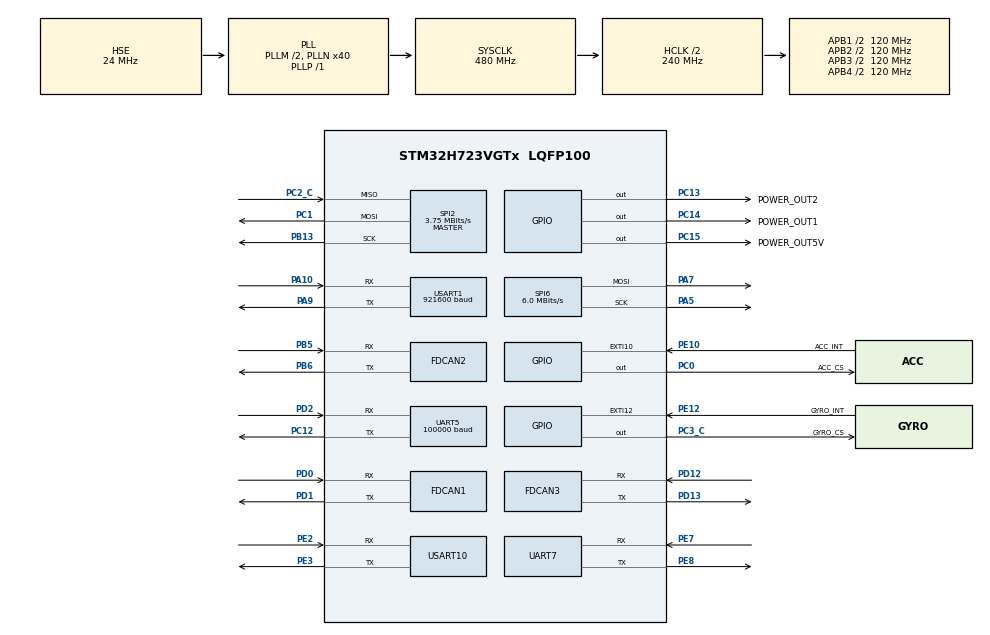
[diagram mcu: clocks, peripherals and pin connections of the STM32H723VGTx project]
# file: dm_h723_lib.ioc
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CORTEX_M7.CPU_ICache=Enabled
CORTEX_M7.default_mode_Activation=0
Dma.Request0=UART5_RX
Dma.Request1=SPI2_RX
Dma.Request2=SPI2_TX
Dma.Request3=UART7_RX
Dma.SPI2_RX.1.Direction=DMA_PERIPH_TO_MEMORY
Dma.SPI2_RX.1.EventEnable=DISABLE
Dma.SPI2_RX.1.FIFOMode=DMA_FIFOMODE_DISABLE
Dma.SPI2_RX.1.Instance=DMA1_Stream0
Dma.SPI2_RX.1.MemDataAlignment=DMA_MDATAALIGN_BYTE
Dma.SPI2_RX.1.MemInc=DMA_MINC_ENABLE
Dma.SPI2_RX.1.Mode=DMA_NORMAL
Dma.SPI2_RX.1.PeriphDataAlignment=DMA_PDATAALIGN_BYTE
Dma.SPI2_RX.1.PeriphInc=DMA_PINC_DISABLE
Dma.SPI2_RX.1.Polarity=HAL_DMAMUX_REQ_GEN_RISING
Dma.SPI2_RX.1.Priority=DMA_PRIORITY_VERY_HIGH
Dma.SPI2_RX.1.RequestNumber=1
Dma.SPI2_RX.1.SignalID=NONE
Dma.SPI2_RX.1.SyncEnable=DISABLE
Dma.SPI2_RX.1.SyncPolarity=HAL_DMAMUX_SYNC_NO_EVENT
Dma.SPI2_RX.1.SyncRequestNumber=1
Dma.SPI2_RX.1.SyncSignalID=NONE
Dma.SPI2_TX.2.Direction=DMA_MEMORY_TO_PERIPH
Dma.SPI2_TX.2.EventEnable=DISABLE
Dma.SPI2_TX.2.FIFOMode=DMA_FIFOMODE_DISABLE
Dma.SPI2_TX.2.Instance=DMA1_Stream1
Dma.SPI2_TX.2.MemDataAlignment=DMA_MDATAALIGN_BYTE
Dma.SPI2_TX.2.MemInc=DMA_MINC_ENABLE
Dma.SPI2_TX.2.Mode=DMA_NORMAL
Dma.SPI2_TX.2.PeriphDataAlignment=DMA_PDATAALIGN_BYTE
Dma.SPI2_TX.2.PeriphInc=DMA_PINC_DISABLE
Dma.SPI2_TX.2.Polarity=HAL_DMAMUX_REQ_GEN_RISING
Dma.SPI2_TX.2.Priority=DMA_PRIORITY_HIGH
Dma.SPI2_TX.2.RequestNumber=1
Dma.SPI2_TX.2.SignalID=NONE
Dma.SPI2_TX.2.SyncEnable=DISABLE
Dma.SPI2_TX.2.SyncPolarity=HAL_DMAMUX_SYNC_NO_EVENT
Dma.SPI2_TX.2.SyncRequestNumber=1
Dma.SPI2_TX.2.SyncSignalID=NONE
Dma.UART5_RX.0.Direction=DMA_PERIPH_TO_MEMORY
Dma.UART5_RX.0.EventEnable=DISABLE
Dma.UART5_RX.0.FIFOMode=DMA_FIFOMODE_DISABLE
Dma.UART5_RX.0.Instance=DMA1_Stream2
Dma.UART5_RX.0.MemDataAlignment=DMA_MDATAALIGN_BYTE
Dma.UART5_RX.0.MemInc=DMA_MINC_ENABLE
Dma.UART5_RX.0.Mode=DMA_NORMAL
Dma.UART5_RX.0.PeriphDataAlignment=DMA_PDATAALIGN_BYTE
Dma.UART5_RX.0.PeriphInc=DMA_PINC_DISABLE
Dma.UART5_RX.0.Polarity=HAL_DMAMUX_REQ_GEN_RISING
Dma.UART5_RX.0.Priority=DMA_PRIORITY_VERY_HIGH
Dma.UART5_RX.0.RequestNumber=1
Dma.UART5_RX.0.SignalID=NONE
Dma.UART5_RX.0.SyncEnable=DISABLE
Dma.UART5_RX.0.SyncPolarity=HAL_DMAMUX_SYNC_NO_EVENT
Dma.UART5_RX.0.SyncRequestNumber=1
Dma.UART5_RX.0.SyncSignalID=NONE
Dma.UART7_RX.3.Direction=DMA_PERIPH_TO_MEMORY
Dma.UART7_RX.3.EventEnable=DISABLE
Dma.UART7_RX.3.FIFOMode=DMA_FIFOMODE_DISABLE
Dma.UART7_RX.3.Instance=DMA1_Stream3
Dma.UART7_RX.3.MemDataAlignment=DMA_MDATAALIGN_BYTE
Dma.UART7_RX.3.MemInc=DMA_MINC_ENABLE
Dma.UART7_RX.3.Mode=DMA_NORMAL
Dma.UART7_RX.3.PeriphDataAlignment=DMA_PDATAALIGN_BYTE
Dma.UART7_RX.3.PeriphInc=DMA_PINC_DISABLE
Dma.UART7_RX.3.Polarity=HAL_DMAMUX_REQ_GEN_RISING
Dma.UART7_RX.3.Priority=DMA_PRIORITY_HIGH
Dma.UART7_RX.3.RequestNumber=1
Dma.UART7_RX.3.SignalID=NONE
Dma.UART7_RX.3.SyncEnable=DISABLE
Dma.UART7_RX.3.SyncPolarity=HAL_DMAMUX_SYNC_NO_EVENT
Dma.UART7_RX.3.SyncRequestNumber=1
Dma.UART7_RX.3.SyncSignalID=NONE
FDCAN1.CalculateBaudRateNominal=1000000
FDCAN1.CalculateTimeBitNominal=1000
FDCAN1.CalculateTimeQuantumNominal=25.0
FDCAN1.DataPrescaler=3
FDCAN1.DataSyncJumpWidth=10
FDCAN1.DataTimeSeg1=29
FDCAN1.DataTimeSeg2=10
FDCAN1.NominalPrescaler=3
FDCAN1.NominalSyncJumpWidth=10
FDCAN1.NominalTimeSeg1=29
FDCAN1.NominalTimeSeg2=10
FDCAN1.RxFifo0ElmtsNbr=32
FDCAN1.StdFiltersNbr=1
FDCAN1.TxFifoQueueElmtsNbr=32
FDCAN2.CalculateBaudRateNominal=1000000
FDCAN2.CalculateTimeBitNominal=1000
FDCAN2.CalculateTimeQuantumNominal=25.0
FDCAN2.DataPrescaler=3
FDCAN2.DataSyncJumpWidth=10
FDCAN2.DataTimeSeg1=29
FDCAN2.DataTimeSeg2=10
FDCAN2.MessageRAMOffset=852
FDCAN2.NominalPrescaler=3
FDCAN2.NominalSyncJumpWidth=10
FDCAN2.NominalTimeSeg1=29
FDCAN2.NominalTimeSeg2=10
FDCAN2.RxFifo0ElmtsNbr=32
FDCAN2.StdFiltersNbr=1
FDCAN2.TxFifoQueueElmtsNbr=32
FDCAN3.CalculateBaudRateNominal=1000000
FDCAN3.CalculateTimeBitNominal=1000
FDCAN3.CalculateTimeQuantumNominal=25.0
FDCAN3.DataPrescaler=3
FDCAN3.DataSyncJumpWidth=10
FDCAN3.DataTimeSeg1=29
FDCAN3.DataTimeSeg2=10
FDCAN3.MessageRAMOffset=1704
FDCAN3.NominalPrescaler=3
FDCAN3.NominalSyncJumpWidth=10
FDCAN3.NominalTimeSeg1=29
FDCAN3.NominalTimeSeg2=10
FDCAN3.RxFifo0ElmtsNbr=32
FDCAN3.StdFiltersNbr=1
FDCAN3.TxFifoQueueElmtsNbr=32
FREERTOS.Tasks01=defaultTask,0,128,StartDefaultTask,Default,NULL,Dynamic,NULL,NULL;debug_uart,-3,1024,DEBUG_UART_TASK,As weak,NULL,Dynamic,NULL,NULL;led,-3,128,LED_TASK,As weak,NULL,Dynamic,NULL,NULL;get_rc,-3,256,GET_RC_TASK,As weak,NULL,Dynamic,NULL,NULL;imu_data,-3,1024,IMU_DATA_GET,As weak,NULL,Dynamic,NULL,NULL;can_sent,-3,256,CAN_SENT_TASK,As weak,NULL,Dynamic,NULL,NULL;shoot_task,-3,128,SHOOT_TASK,As weak,NULL,Dynamic,NULL,NULL;gimbalTask,-3,256,GIMBAL_MOTOR_CONTROL,As weak,NULL,Dynamic,NULL,NULL;err_dec_task,-3,256,ERROR_DETECTION,As weak,NULL,Dynamic,NULL,NULL;auto_aim,-3,512,AUTO_AIM_TASK,As weak,NULL,Dynamic,NULL,NULL;BOARD_COM,-3,1024,BOARD_COMMUNICATION_TASK,As weak,NULL,Dynamic,NULL,NULL
FREERTOS.configTOTAL_HEAP_SIZE=60000
FREERTOS.configUSE_NEWLIB_REENTRANT=1
Mcu.Family=STM32H7
Mcu.Name=STM32H723VGTx
Mcu.Package=LQFP100
NVIC.DMA1_Stream0_IRQn=true\:5\:0\:false\:false\:true\:true\:false\:true\:true
NVIC.DMA1_Stream1_IRQn=true\:5\:0\:false\:false\:true\:true\:false\:true\:true
NVIC.DMA1_Stream2_IRQn=true\:5\:0\:false\:false\:true\:true\:false\:true\:true
NVIC.DMA1_Stream3_IRQn=true\:5\:0\:false\:false\:true\:true\:false\:true\:true
NVIC.FDCAN1_IT0_IRQn=true\:5\:0\:false\:false\:true\:true\:true\:true\:true
NVIC.FDCAN2_IT0_IRQn=true\:5\:0\:false\:false\:true\:true\:true\:true\:true
NVIC.FDCAN3_IT0_IRQn=true\:5\:0\:false\:false\:true\:true\:true\:true\:true
NVIC.PriorityGroup=NVIC_PRIORITYGROUP_4
NVIC.SPI2_IRQn=true\:5\:0\:false\:false\:true\:true\:true\:true\:true
NVIC.TIM7_IRQn=true\:15\:0\:false\:false\:true\:false\:false\:true\:true
NVIC.TimeBase=TIM7_IRQn
NVIC.TimeBaseIP=TIM7
NVIC.UART5_IRQn=true\:5\:0\:false\:false\:true\:true\:true\:true\:true
NVIC.UART7_IRQn=true\:5\:0\:false\:false\:true\:true\:true\:true\:true
NVIC.USART10_IRQn=true\:5\:0\:false\:false\:true\:true\:true\:true\:true
PA10.Mode=Asynchronous
PA10.Signal=USART1_RX
PA13(JTMS/SWDIO).Mode=Serial_Wire
PA13(JTMS/SWDIO).Signal=DEBUG_JTMS-SWDIO
PA14(JTCK/SWCLK).Mode=Serial_Wire
PA14(JTCK/SWCLK).Signal=DEBUG_JTCK-SWCLK
PA5.Mode=TX_Only_Simplex_Unidirect_Master
PA5.Signal=SPI6_SCK
PA7.Mode=TX_Only_Simplex_Unidirect_Master
PA7.Signal=SPI6_MOSI
PA9.Mode=Asynchronous
PA9.Signal=USART1_TX
PB13.Mode=Full_Duplex_Master
PB13.Signal=SPI2_SCK
PB5.Mode=FDCAN_Activate
PB5.Signal=FDCAN2_RX
PB6.Mode=FDCAN_Activate
PB6.Signal=FDCAN2_TX
PC0.GPIO_Label=ACC_CS
PC0.GPIO_Speed=GPIO_SPEED_FREQ_VERY_HIGH
PC0.PinState=GPIO_PIN_SET
PC0.Signal=GPIO_Output
PC1.Mode=Full_Duplex_Master
PC1.Signal=SPI2_MOSI
PC12.Mode=Asynchronous
PC12.Signal=UART5_TX
PC13.GPIO_Label=POWER_OUT2
PC13.PinState=GPIO_PIN_SET
PC13.Signal=GPIO_Output
PC14-OSC32_IN.GPIO_Label=POWER_OUT1
PC14-OSC32_IN.PinState=GPIO_PIN_SET
PC14-OSC32_IN.Signal=GPIO_Output
PC15-OSC32_OUT.GPIO_Label=POWER_OUT5V
PC15-OSC32_OUT.PinState=GPIO_PIN_SET
PC15-OSC32_OUT.Signal=GPIO_Output
PC2_C.Mode=Full_Duplex_Master
PC2_C.Signal=SPI2_MISO
PC3_C.GPIO_Label=GYRO_CS
PC3_C.GPIO_Speed=GPIO_SPEED_FREQ_VERY_HIGH
PC3_C.PinState=GPIO_PIN_SET
PC3_C.Signal=GPIO_Output
PD0.Mode=FDCAN_Activate
PD0.Signal=FDCAN1_RX
PD1.Mode=FDCAN_Activate
PD1.Signal=FDCAN1_TX
PD12.Mode=FDCAN_Activate
PD12.Signal=FDCAN3_RX
PD13.Mode=FDCAN_Activate
PD13.Signal=FDCAN3_TX
PD2.Mode=Asynchronous
PD2.Signal=UART5_RX
PE10.GPIO_Label=ACC_INT
PE10.Signal=GPXTI10
PE12.GPIO_Label=GYRO_INT
PE12.Signal=GPXTI12
PE2.Mode=Asynchronous
PE2.Signal=USART10_RX
PE3.Mode=Asynchronous
PE3.Signal=USART10_TX
PE7.Mode=Asynchronous
PE7.Signal=UART7_RX
PE8.Mode=Asynchronous
PE8.Signal=UART7_TX
PH0-OSC_IN.Mode=HSE-External-Oscillator
PH0-OSC_IN.Signal=RCC_OSC_IN
PH1-OSC_OUT.Mode=HSE-External-Oscillator
PH1-OSC_OUT.Signal=RCC_OSC_OUT
ProjectManager.HeapSize=0x200
ProjectManager.StackSize=0x400
ProjectManager.TargetToolchain=STM32CubeIDE
RCC.ADCFreq_Value=96000000
RCC.APB1Freq_Value=120000000
RCC.APB2Freq_Value=120000000
RCC.APB3Freq_Value=120000000
RCC.APB4Freq_Value=120000000
RCC.CortexFreq_Value=480000000
RCC.D1PPRE=RCC_APB3_DIV2
RCC.D2PPRE1=RCC_APB1_DIV2
RCC.D2PPRE2=RCC_APB2_DIV2
RCC.D3PPRE=RCC_APB4_DIV2
RCC.DIVM1=2
RCC.DIVM2=2
RCC.DIVN1=40
RCC.DIVN2=16
RCC.DIVP1=1
RCC.DIVQ1=4
RCC.HCLKFreq_Value=240000000
RCC.HPRE=RCC_HCLK_DIV2
RCC.HSE_VALUE=24000000
RCC.PLL2FRACN=0
RCC.PLL3FRACN=0
RCC.PLLFRACN=0
RCC.PLLSourceVirtual=RCC_PLLSOURCE_HSE
RCC.SPI6CLockSelection=RCC_SPI6CLKSOURCE_HSE
RCC.SYSCLKFreq_VALUE=480000000
RCC.SYSCLKSource=RCC_SYSCLKSOURCE_PLLCLK
RCC.USBFreq_Value=120000000
SPI2.BaudRatePrescaler=SPI_BAUDRATEPRESCALER_32
SPI2.CLKPhase=SPI_PHASE_2EDGE
SPI2.CLKPolarity=SPI_POLARITY_HIGH
SPI2.CalculateBaudRate=3.75 MBits/s
SPI2.DataSize=SPI_DATASIZE_8BIT
SPI2.Direction=SPI_DIRECTION_2LINES
SPI2.Mode=SPI_MODE_MASTER
SPI2.VirtualType=VM_MASTER
SPI6.BaudRatePrescaler=SPI_BAUDRATEPRESCALER_4
SPI6.CLKPhase=SPI_PHASE_2EDGE
SPI6.CalculateBaudRate=6.0 MBits/s
SPI6.DataSize=SPI_DATASIZE_8BIT
SPI6.Direction=SPI_DIRECTION_2LINES_TXONLY
SPI6.Mode=SPI_MODE_MASTER
SPI6.VirtualType=VM_MASTER
UART5.BaudRate=100000
UART5.Mode=MODE_TX_RX
UART5.Parity=PARITY_EVEN
UART5.StopBits=UART_STOPBITS_2
UART5.WordLength=WORDLENGTH_9B
USART1.BaudRate=921600
USART1.VirtualMode-Asynchronous=VM_ASYNC
USART10.VirtualMode=VM_ASYNC
VP_FREERTOS_VS_CMSIS_V1.Mode=CMSIS_V1
VP_MEMORYMAP_VS_MEMORYMAP.Mode=CurAppReg
VP_SYS_VS_tim7.Mode=TIM7
board=custom

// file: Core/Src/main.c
/* USER CODE BEGIN Header */
/**
  ******************************************************************************
  * @file           : main.c
  * @brief          : Main program body
  ******************************************************************************
  * @attention
  *
  * Copyright (c) 2026 STMicroelectronics.
  * All rights reserved.
  *
  * This software is licensed under terms that can be found in the LICENSE file
  * in the root directory of this software component.
  * If no LICENSE file comes with this software, it is provided AS-IS.
  *
  ******************************************************************************
  */
/* USER CODE END Header */
#include "main.h"
#include "cmsis_os.h"
#include "dma.h"
#include "fdcan.h"
#include "memorymap.h"
#include "spi.h"
#include "usart.h"
#include "gpio.h"

/* USER CODE BEGIN Includes */
#include "ws2812.h"
#include "uart_printf.h"
#include "remote_control.h"
#include "BMI088driver.h"
#include "bsp_can.h"
#include "dm_motor.h"
#include "SHOOT_TASK.h"
#include "GIMBAL_MOTOR_CONTROL.h"
#include "AUTO_AIM_TASK.h"
/* USER CODE END Includes */

/* USER CODE BEGIN PV */
float gyro[3], accel[3], temp;
float INS_quat[4] = {1.0f, 0.0f, 0.0f, 0.0f};
float INS_angle[3] = {0.0f, 0.0f, 0.0f};
float INS_degree[3] = {0.0f, 0.0f, 0.0f};

float YAW_6020_ID1_GIVEN_SPEED ;
int16_t YAW_6020_ID1_GIVEN_CURRENT ;
float YAW_6020_ID1_GIVEN_ANGLE ;

float PITCH_6020_ID2_GIVEN_ANGLE ;
float PITCH_6020_ID2_GIVEN_SPEED ;
int16_t PITCH_6020_ID2_GIVEN_CURRENT ;

//friction wheel
int16_t FRICTION_WHEEL_3508_ID1_GIVEN_SPEED ;
int16_t FRICTION_WHEEL_3508_ID1_GIVEN_CURRENT ;

int16_t FRICTION_WHEEL_3508_ID2_GIVEN_SPEED ;
int16_t FRICTION_WHEEL_3508_ID2_GIVEN_CURRENT ;

int16_t pitch_6020_state ;//6020电机状态 0为错误，1为正常

uint8_t uart7_receive_data ;//串口当前接收字节

float yaw_imu_preprocess ;//yaw轴imu预处理

int16_t SHOOT_2006_GIVEN_SPEED ;

uint32_t auto_aim_time ;//自瞄时间戳

int16_t auto_aim_communication_state ;//自瞄通讯状态 0为离线，1为在线

/* USER CODE END PV */

void SystemClock_Config(void);
void MX_FREERTOS_Init(void);

int main(void)
{

  /* Enable the CPU Cache */

  /* Enable I-Cache---------------------------------------------------------*/
  SCB_EnableICache();

  /* MCU Configuration--------------------------------------------------------*/

  /* Reset of all peripherals, Initializes the Flash interface and the Systick. */
  HAL_Init();

  /* Configure the system clock */
  SystemClock_Config();

  /* Initialize all configured peripherals */
  MX_GPIO_Init();
  MX_DMA_Init();
  MX_SPI6_Init();
  MX_USART1_UART_Init();
  MX_UART5_Init();
  MX_SPI2_Init();
  MX_FDCAN1_Init();
  MX_FDCAN2_Init();
  MX_FDCAN3_Init();
  MX_UART7_Init();
  MX_USART10_UART_Init();
  /* USER CODE BEGIN 2 */

    while(BMI088_init());

    //about remote control
#if REMOTE_TYPE == SBUS
    HAL_UARTEx_ReceiveToIdle_DMA(&huart5, rx_subs_buff, SBUS_BUFF_SIZE * 2);
#endif

#if REMOTE_TYPE == DBUS
    HAL_UARTEx_ReceiveToIdle_DMA(&huart5, rx_dbus_buff, DBUS_BUFF_SIZE);
#endif
    dm_motor_init();

    BSP_FDCAN_Init();

    friction_wheel_3510_id1_speed_pid_init();
    friction_wheel_3510_id2_speed_pid_init();

    HAL_UARTEx_ReceiveToIdle_DMA(&huart7, auto_aim_rx_buffer, RX_BUF_SIZE);

  /* USER CODE END 2 */

  /* Call init function for freertos objects (in cmsis_os2.c) */
  MX_FREERTOS_Init();

  /* Start scheduler */
  osKernelStart();

  /* We should never get here as control is now taken by the scheduler */

  /* Infinite loop */
  while (1)
  {

  }
}

void SystemClock_Config(void)
{
  RCC_OscInitTypeDef RCC_OscInitStruct = {0};
  RCC_ClkInitTypeDef RCC_ClkInitStruct = {0};

  /** Supply configuration update enable
  */
  HAL_PWREx_ConfigSupply(PWR_LDO_SUPPLY);

  /** Configure the main internal regulator output voltage
  */
  __HAL_PWR_VOLTAGESCALING_CONFIG(PWR_REGULATOR_VOLTAGE_SCALE0);

  while(!__HAL_PWR_GET_FLAG(PWR_FLAG_VOSRDY)) {}

  /** Initializes the RCC Oscillators according to the specified parameters
  * in the RCC_OscInitTypeDef structure.
  */
  RCC_OscInitStruct.OscillatorType = RCC_OSCILLATORTYPE_HSE;
  RCC_OscInitStruct.HSEState = RCC_HSE_ON;
  RCC_OscInitStruct.PLL.PLLState = RCC_PLL_ON;
  RCC_OscInitStruct.PLL.PLLSource = RCC_PLLSOURCE_HSE;
  RCC_OscInitStruct.PLL.PLLM = 2;
  RCC_OscInitStruct.PLL.PLLN = 40;
  RCC_OscInitStruct.PLL.PLLP = 1;
  RCC_OscInitStruct.PLL.PLLQ = 4;
  RCC_OscInitStruct.PLL.PLLR = 2;
  RCC_OscInitStruct.PLL.PLLRGE = RCC_PLL1VCIRANGE_3;
  RCC_OscInitStruct.PLL.PLLVCOSEL = RCC_PLL1VCOWIDE;
  RCC_OscInitStruct.PLL.PLLFRACN = 0;
  if (HAL_RCC_OscConfig(&RCC_OscInitStruct) != HAL_OK)
  {
    Error_Handler();
  }

  /** Initializes the CPU, AHB and APB buses clocks
  */
  RCC_ClkInitStruct.ClockType = RCC_CLOCKTYPE_HCLK|RCC_CLOCKTYPE_SYSCLK
                              |RCC_CLOCKTYPE_PCLK1|RCC_CLOCKTYPE_PCLK2
                              |RCC_CLOCKTYPE_D3PCLK1|RCC_CLOCKTYPE_D1PCLK1;
  RCC_ClkInitStruct.SYSCLKSource = RCC_SYSCLKSOURCE_PLLCLK;
  RCC_ClkInitStruct.SYSCLKDivider = RCC_SYSCLK_DIV1;
  RCC_ClkInitStruct.AHBCLKDivider = RCC_HCLK_DIV2;
  RCC_ClkInitStruct.APB3CLKDivider = RCC_APB3_DIV2;
  RCC_ClkInitStruct.APB1CLKDivider = RCC_APB1_DIV2;
  RCC_ClkInitStruct.APB2CLKDivider = RCC_APB2_DIV2;
  RCC_ClkInitStruct.APB4CLKDivider = RCC_APB4_DIV2;

  if (HAL_RCC_ClockConfig(&RCC_ClkInitStruct, FLASH_LATENCY_3) != HAL_OK)
  {
    Error_Handler();
  }
}

void HAL_TIM_PeriodElapsedCallback(TIM_HandleTypeDef *htim)
{
  if (htim->Instance == TIM7) {
    HAL_IncTick();
  }
}

void Error_Handler(void)
{
  __disable_irq();
  while (1)
  {
  }
}

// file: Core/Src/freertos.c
/* USER CODE BEGIN Header */
/**
  ******************************************************************************
  * File Name          : freertos.c
  * Description        : Code for freertos applications
  ******************************************************************************
  * @attention
  *
  * Copyright (c) 2026 STMicroelectronics.
  * All rights reserved.
  *
  * This software is licensed under terms that can be found in the LICENSE file
  * in the root directory of this software component.
  * If no LICENSE file comes with this software, it is provided AS-IS.
  *
  ******************************************************************************
  */
/* USER CODE END Header */

#include "FreeRTOS.h"
#include "task.h"
#include "main.h"
#include "cmsis_os.h"

osThreadId defaultTaskHandle;
osThreadId debug_uartHandle;
osThreadId ledHandle;
osThreadId get_rcHandle;
osThreadId imu_dataHandle;
osThreadId can_sentHandle;
osThreadId shoot_taskHandle;
osThreadId gimbalTaskHandle;
osThreadId err_dec_taskHandle;
osThreadId auto_aimHandle;
osThreadId BOARD_COMHandle;

void StartDefaultTask(void const * argument);
void DEBUG_UART_TASK(void const * argument);
void LED_TASK(void const * argument);
void GET_RC_TASK(void const * argument);
void IMU_DATA_GET(void const * argument);
void CAN_SENT_TASK(void const * argument);
void SHOOT_TASK(void const * argument);
void GIMBAL_MOTOR_CONTROL(void const * argument);
void ERROR_DETECTION(void const * argument);
void AUTO_AIM_TASK(void const * argument);
void BOARD_COMMUNICATION_TASK(void const * argument);

void MX_FREERTOS_Init(void); /* (MISRA C 2004 rule 8.1) */

/* GetIdleTaskMemory prototype (linked to static allocation support) */
void vApplicationGetIdleTaskMemory( StaticTask_t **ppxIdleTaskTCBBuffer, StackType_t **ppxIdleTaskStackBuffer, uint32_t *pulIdleTaskStackSize );

/* USER CODE BEGIN GET_IDLE_TASK_MEMORY */
static StaticTask_t xIdleTaskTCBBuffer;
static StackType_t xIdleStack[configMINIMAL_STACK_SIZE];

void vApplicationGetIdleTaskMemory( StaticTask_t **ppxIdleTaskTCBBuffer, StackType_t **ppxIdleTaskStackBuffer, uint32_t *pulIdleTaskStackSize )
{
  *ppxIdleTaskTCBBuffer = &xIdleTaskTCBBuffer;
  *ppxIdleTaskStackBuffer = &xIdleStack[0];
  *pulIdleTaskStackSize = configMINIMAL_STACK_SIZE;
  /* place for user code */
}
/* USER CODE END GET_IDLE_TASK_MEMORY */

void MX_FREERTOS_Init(void) {

  /* Create the thread(s) */
  /* definition and creation of defaultTask */
  osThreadDef(defaultTask, StartDefaultTask, osPriorityNormal, 0, 128);
  defaultTaskHandle = osThreadCreate(osThread(defaultTask), NULL);

  /* definition and creation of debug_uart */
  osThreadDef(debug_uart, DEBUG_UART_TASK, osPriorityIdle, 0, 1024);
  debug_uartHandle = osThreadCreate(osThread(debug_uart), NULL);

  /* definition and creation of led */
  osThreadDef(led, LED_TASK, osPriorityIdle, 0, 128);
  ledHandle = osThreadCreate(osThread(led), NULL);

  /* definition and creation of get_rc */
  osThreadDef(get_rc, GET_RC_TASK, osPriorityIdle, 0, 256);
  get_rcHandle = osThreadCreate(osThread(get_rc), NULL);

  /* definition and creation of imu_data */
  osThreadDef(imu_data, IMU_DATA_GET, osPriorityIdle, 0, 1024);
  imu_dataHandle = osThreadCreate(osThread(imu_data), NULL);

  /* definition and creation of can_sent */
  osThreadDef(can_sent, CAN_SENT_TASK, osPriorityIdle, 0, 256);
  can_sentHandle = osThreadCreate(osThread(can_sent), NULL);

  /* definition and creation of shoot_task */
  osThreadDef(shoot_task, SHOOT_TASK, osPriorityIdle, 0, 128);
  shoot_taskHandle = osThreadCreate(osThread(shoot_task), NULL);

  /* definition and creation of gimbalTask */
  osThreadDef(gimbalTask, GIMBAL_MOTOR_CONTROL, osPriorityIdle, 0, 256);
  gimbalTaskHandle = osThreadCreate(osThread(gimbalTask), NULL);

  /* definition and creation of err_dec_task */
  osThreadDef(err_dec_task, ERROR_DETECTION, osPriorityIdle, 0, 256);
  err_dec_taskHandle = osThreadCreate(osThread(err_dec_task), NULL);

  /* definition and creation of auto_aim */
  osThreadDef(auto_aim, AUTO_AIM_TASK, osPriorityIdle, 0, 512);
  auto_aimHandle = osThreadCreate(osThread(auto_aim), NULL);

  /* definition and creation of BOARD_COM */
  osThreadDef(BOARD_COM, BOARD_COMMUNICATION_TASK, osPriorityIdle, 0, 1024);
  BOARD_COMHandle = osThreadCreate(osThread(BOARD_COM), NULL);

}

void StartDefaultTask(void const * argument)
{
  for(;;)
  {
    osDelay(1);
  }
}

__weak void DEBUG_UART_TASK(void const * argument)
{
  for(;;)
  {
    osDelay(1);
  }
}

__weak void LED_TASK(void const * argument)
{
  for(;;)
  {
    osDelay(1);
  }
}

__weak void GET_RC_TASK(void const * argument)
{
  for(;;)
  {
    osDelay(1);
  }
}

__weak void IMU_DATA_GET(void const * argument)
{
  for(;;)
  {
    osDelay(1);
  }
}

__weak void CAN_SENT_TASK(void const * argument)
{
  for(;;)
  {
    osDelay(1);
  }
}

__weak void SHOOT_TASK(void const * argument)
{
  for(;;)
  {
    osDelay(1);
  }
}

__weak void GIMBAL_MOTOR_CONTROL(void const * argument)
{
  for(;;)
  {
    osDelay(1);
  }
}

__weak void ERROR_DETECTION(void const * argument)
{
  for(;;)
  {
    osDelay(1);
  }
}

__weak void AUTO_AIM_TASK(void const * argument)
{
  for(;;)
  {
    osDelay(1);
  }
}

__weak void BOARD_COMMUNICATION_TASK(void const * argument)
{
  for(;;)
  {
    osDelay(1);
  }
}
